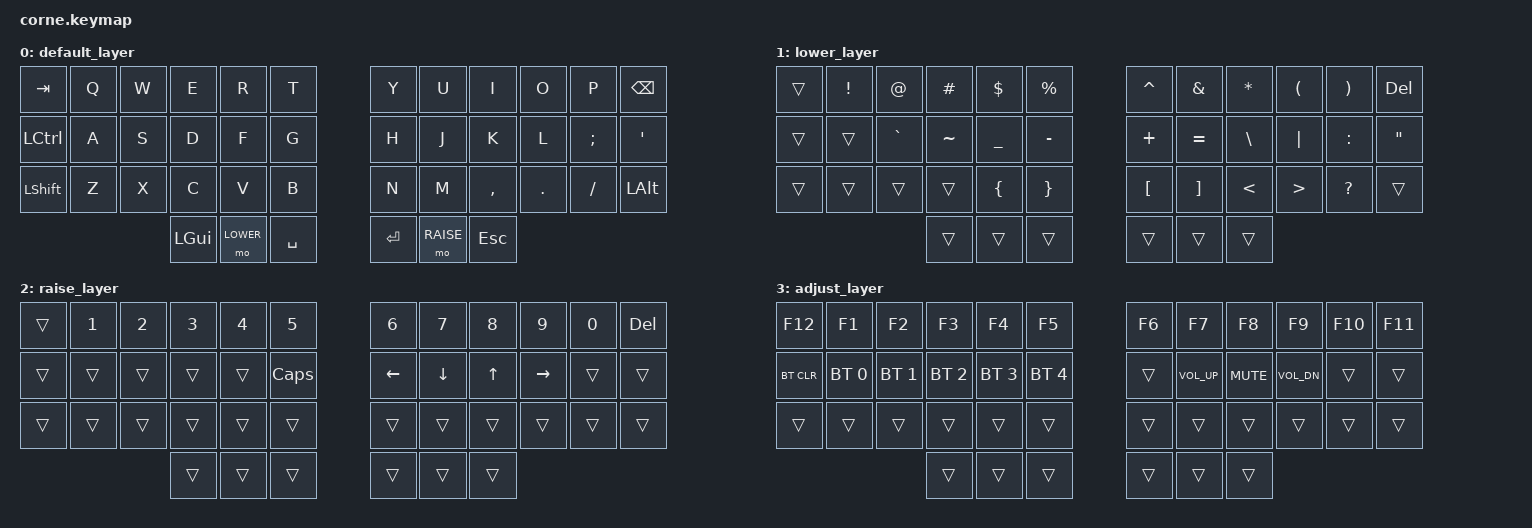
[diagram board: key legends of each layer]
#include <behaviors.dtsi>
#include <dt-bindings/zmk/keys.h>
#include <dt-bindings/zmk/bt.h>

#define BASE    0
#define LOWER   1
#define RAISE   2
#define ADJUST  3

/ {
        conditional_layers {
                compatible = "zmk,conditional-layers";
                adjust_layer {
                        if-layers = <LOWER RAISE>;
                        then-layer = <ADJUST>;
                };
                
        };

        keymap {
                compatible = "zmk,keymap";

                default_layer {
// ----------------------------------------------------------------------------------
// | TAB  |  Q  |  W  |  E  |  R  |  T  |     |  Y  |  U   |  I  |  O  |  P  | BKSP |
// | CTRL |  A  |  S  |  D  |  F  |  G  |     |  H  |  J   |  K  |  L  |  ;  |  '   |
// | SHFT |  Z  |  X  |  C  |  V  |  B  |     |  N  |  M   |  ,  |  .  |  /  | ALT  |
//                    | GUI | LWR | SPC |     | ENT | RSE  | ESC |
                        bindings = <
   &kp TAB    &kp Q  &kp W  &kp E     &kp R      &kp T        &kp Y   &kp U      &kp I      &kp O    &kp P     &kp BSPC
   &kp LCTRL  &kp A  &kp S  &kp D     &kp F      &kp G        &kp H   &kp J      &kp K      &kp L    &kp SEMI  &kp SQT
   &kp LSHFT  &kp Z  &kp X  &kp C     &kp V      &kp B        &kp N   &kp M      &kp COMMA  &kp DOT  &kp FSLH  &kp LALT
                            &kp LGUI  &mo LOWER  &kp SPACE    &kp RET &mo RAISE  &kp ESC
                        >;
                };

                lower_layer {
// --------------------------------------------------------------------------------
// |     |  !  |  @  |  #  |  $  |  %  |     |  ^  |  &  |  *  |  (  |  )  | DEL |
// |     |     |  `  |  ~  |  _  |  -  |     |  +  |  =  |  \  |  |  |  :  |  "  |
// |     |     |     |     |  {  |  }  |     |  [  |  ]  |  <  |  >  |  ?  |     |
//                   |     |     |     |     |     |     |     |
                        bindings = <
   &trans  &kp EXCL &kp AT     &kp HASH   &kp DLLR   &kp PRCNT    &kp CARET  &kp AMPS   &kp ASTRK  &kp LPAR  &kp RPAR   &kp DEL
   &trans  &trans   &kp GRAVE  &kp TILDE  &kp UNDER  &kp MINUS    &kp PLUS   &kp EQUAL  &kp BSLH   &kp PIPE  &kp COLON  &kp DQT
   &trans  &trans   &trans     &trans     &kp LBRC   &kp RBRC     &kp LBKT   &kp RBKT   &kp LT     &kp GT    &kp QMARK  &trans 
                            &trans     &trans     &trans       &trans     &trans     &trans
                        >;
                };

                raise_layer {
// ---------------------------------------------------------------------------------
// |     |  1  |  2  |  3  |  4  |  5  |     |  6  |  7  |  8  |  9  |  0  | DEL |
// |     |     |     |     |     | CPS |     | LFT | DWN | UP  | RGT |     |     |
// |     |     |     |     |     |     |     |     |     |     |     |     |     |
//                   |     |     |     |     |     |     |     |
                        bindings = <
   &trans  &kp N1  &kp N2  &kp N3  &kp N4  &kp N5      &kp N6   &kp N7    &kp N8  &kp N9     &kp N0  &kp DEL
   &trans  &trans  &trans  &trans  &trans  &kp CAPS    &kp LEFT &kp DOWN  &kp UP  &kp RIGHT  &trans  &trans
   &trans  &trans  &trans  &trans  &trans  &trans      &trans   &trans    &trans  &trans     &trans  &trans
                           &trans  &trans  &trans      &trans   &trans    &trans
                        >;
                };

                adjust_layer {
// ----------------------------------------------------------------------------------
// | F12 | F1  | F2  | F3  | F4  | F5  |     | F6  | F7   | F8  | F9   | F10 | F11 |
// | BTC | BT0 | BT1 | BT2 | BT3 | BT4 |     |     | VOL+ | MUT | VOL- |     |     |
// |     |     |     |     |     |     |     |     |      |     |      |     |     |
//                   |     |     |     |     |     |      |     |
                        bindings = <
   &kp F12    &kp F1       &kp F2       &kp F3       &kp F4        &kp F5          &kp F6  &kp F7        &kp F8      &kp F9        &kp F10  &kp F11
   &bt BT_CLR &bt BT_SEL 0 &bt BT_SEL 1 &bt BT_SEL 2 &bt BT_SEL 3  &bt BT_SEL 4    &trans  &kp C_VOL_UP  &kp C_MUTE  &kp C_VOL_DN  &trans   &trans 
   &trans     &trans       &trans       &trans       &trans        &trans          &trans  &trans        &trans      &trans        &trans   &trans 
                                        &trans       &trans        &trans          &trans  &trans        &trans 
                        >;
                };
        };
};

